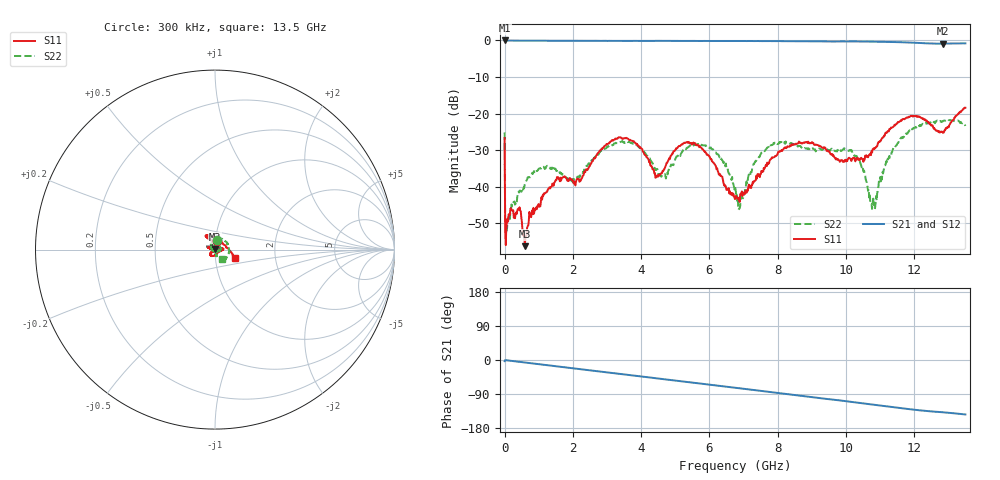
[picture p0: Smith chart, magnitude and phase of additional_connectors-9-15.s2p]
!Agilent Technologies,N5230C,MY48100320,A.08.04.10
!Agilent N5230C: A.08.04.10
!Date: Thursday, September 15, 2016 17:42:07
!Correction: S11(Full 2 Port(1,2))
!S21(Full 2 Port(1,2))
!S12(Full 2 Port(1,2))
!S22(Full 2 Port(1,2))
!S2P File: Measurements: S11, S21, S12, S22:
# Hz S  MA  R 50
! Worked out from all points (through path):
!   801 points, 300 kHz to 13.5 GHz, reference 50 ohm
!   highest |S21| = 0.00 dB at 17.17 MHz (marker M1); lowest = -0.9 dB at 12.84 GHz (marker M2)
!   group delay of S21, straight-line fit = 30.1 ps
!   lowest |S11| = -56.3 dB at 590.9 MHz (marker M3), VSWR 1.00, Z = 50 + j0.148 ohm
!   |S11| at or under -10 dB: start of sweep to end of sweep
!   |S22| runs from -52.9 to -21.8 dB; largest |S21 - S12| = 0.0041
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300000  0.04618 78.9  0.9913 -2.9  0.9918 -2.9  0.05498 77.2
1.717462e7  0.002523 100.4  1 -0.4  0.9998 -0.4  0.003417 79.5
8.467312e7  0.003626 39.8  0.997 -1.1  0.9973 -1.0  0.003314 55.8
4.05291e8  0.004978 58.3  0.994 -4.6  0.9941 -4.6  0.008469 26.6
5.909119e8  0.001527 104.5  0.9935 -6.6  0.994 -6.6  0.01069 -5.3
1.519016e9  0.01235 -146.3  0.9907 -16.6  0.9915 -16.6  0.01626 -51.7
2.2615e9  0.0129 -61.4  0.9889 -24.7  0.9894 -24.7  0.01553 -164.8
3.35835e9  0.04708 2.5  0.9866 -36.5  0.988 -36.4  0.0399 103.5
4.505825e9  0.01446 90.2  0.9861 -48.9  0.9854 -48.9  0.01488 22.0
5.585801e9  0.03913 164.1  0.9836 -60.6  0.9835 -60.6  0.03779 -74.2
6.243911e9  0.0164 179.2  0.9835 -67.7  0.9833 -67.7  0.02761 -77.1
6.75015e9  0.006742 -138.6  0.9835 -73.2  0.9808 -73.2  0.009939 -100.2
6.918896e9  0.007996 -129.6  0.9826 -75.0  0.984 -75.0  0.00673 -161.6
7.323887e9  0.01194 -132.2  0.9814 -79.4  0.9823 -79.4  0.02114 138.2
7.830126e9  0.02513 -139.7  0.9804 -85.0  0.9791 -85.0  0.03694 125.5
9.01135e9  0.04048 -114.5  0.9753 -98.1  0.9749 -98.1  0.03312 61.1
1.015882e10  0.02236 -4.5  0.9691 -110.5  0.9684 -110.5  0.03155 -12.9
1.080006e10  0.03293 80.4  0.9624 -117.9  0.9625 -117.8  0.006823 29.7
1.125567e10  0.05688 114.5  0.9543 -122.9  0.955 -122.9  0.02502 108.8
1.196441e10  0.09086 122.3  0.9313 -130.8  0.9335 -130.8  0.06267 78.4
1.284189e10  0.05429 35.7  0.9023 -138.0  0.9044 -138.0  0.0787 -1.5
1.35e10  0.12 -24.1  0.912 -143.7  0.9114 -143.7  0.0676 -53.6
